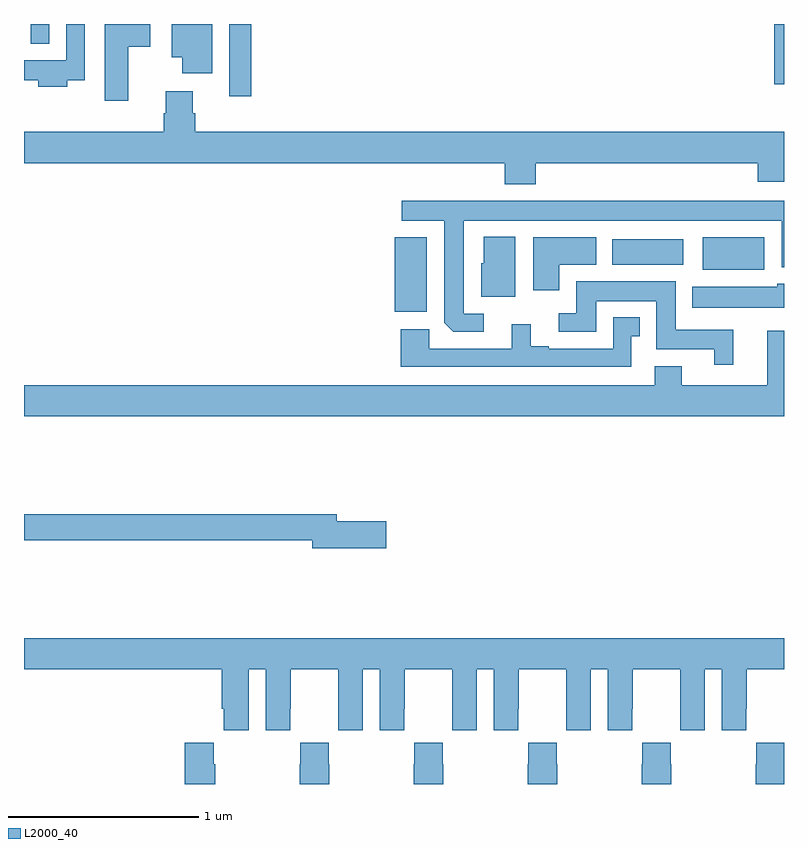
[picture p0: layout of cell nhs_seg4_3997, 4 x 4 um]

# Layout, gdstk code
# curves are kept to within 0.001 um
import gdstk
lib = gdstk.Library(unit=1e-6, precision=1e-09)
def R(c, l, rs):  # rectangles x0, y0, x1, y1
    for r in rs: c.add(gdstk.rectangle(r[:2], r[2:], *l))
def P(c, l, *ps):  # polygons
    for p in ps: c.add(gdstk.Polygon(p, *l))
L2000_40 = (2000, 40)

nhs_seg4_3997 = lib.new_cell('nhs_seg4_3997')
R(nhs_seg4_3997, L2000_40, [(324.95,781.385,325.12,781.777), (326.573,781.607,326.896,781.777), (326.096,781.634,326.47,781.768), (324.081,782.52,324.197,782.9), (326.948,782.583,327,782.9), (323.036,782.795,323.133,782.9)])
P(nhs_seg4_3997, L2000_40, [(323.227,782.604),(323.319,782.604),(323.319,782.9),(323.223,782.9),(323.223,782.71),(323,782.71),(323,782.604),(323.075,782.604),(323.075,782.57),(323.227,782.57)],
  [(323.992,782.9),(323.777,782.9),(323.777,782.726),(323.834,782.726),(323.834,782.64),(323.992,782.64)],
  [(323.548,782.779),(323.665,782.779),(323.665,782.9),(323.426,782.9),(323.426,782.496),(323.548,782.496)],
  [(325.694,782.168),(326.861,782.168),(326.861,782.069),(327,782.069),(327,782.332),(323.9,782.332),(323.9,782.43),(323.887,782.43),(323.887,782.545),(323.747,782.545),(323.747,782.43),(323.735,782.43),(323.735,782.332),(323,782.332),(323,782.168),(325.529,782.168),(325.529,782.057),(325.694,782.057)],
  [(325.42,781.374),(325.315,781.374),(325.315,781.865),(326.988,781.865),(326.988,781.62),(327,781.62),(327,781.969),(324.987,781.969),(324.987,781.865),(325.211,781.865),(325.212,781.327),(325.258,781.281),(325.42,781.281)],
  [(325.585,781.78),(325.421,781.78),(325.421,781.641),(325.406,781.641),(325.406,781.464),(325.585,781.464)],
  [(325.816,781.634),(326.011,781.634),(326.011,781.777),(325.679,781.777),(325.679,781.5),(325.816,781.5)],
  [(326.732,781.291),(326.431,781.291),(326.431,781.546),(325.907,781.546),(325.907,781.377),(325.815,781.377),(325.815,781.281),(326.011,781.281),(326.011,781.442),(326.327,781.442),(326.327,781.187),(326.633,781.187),(326.633,781.107),(326.732,781.107)],
  [(327,781.534),(326.964,781.534),(326.964,781.516),(326.516,781.516),(326.516,781.406),(327,781.406)],
  [(326.196,781.257),(326.242,781.257),(326.242,781.357),(326.1,781.357),(326.1,781.191),(325.762,781.191),(325.762,781.204),(325.666,781.204),(325.666,781.321),(325.568,781.321),(325.568,781.191),(325.134,781.191),(325.134,781.294),(324.983,781.294),(324.983,781.095),(326.196,781.095)],
  [(327,781.285),(326.912,781.285),(326.912,781),(326.461,781),(326.461,781.099),(326.321,781.099),(326.321,781),(323,781),(323,780.836),(327,780.836)],
  [(324.907,780.284),(324.646,780.284),(324.646,780.32),(323,780.32),(323,780.184),(324.518,780.184),(324.518,780.142),(324.907,780.142)],
  [(324.184,779.504),(324.272,779.504),(324.272,779.184),(324.402,779.184),(324.402,779.296),(324.403,779.296),(324.403,779.504),(324.653,779.504),(324.653,779.296),(324.654,779.296),(324.654,779.184),(324.784,779.184),(324.784,779.504),(324.872,779.504),(324.872,779.184),(325.002,779.184),(325.002,779.296),(325.003,779.296),(325.003,779.504),(325.253,779.504),(325.253,779.296),(325.254,779.296),(325.254,779.184),(325.384,779.184),(325.384,779.504),(325.472,779.504),(325.472,779.184),(325.602,779.184),(325.602,779.296),(325.603,779.296),(325.603,779.504),(325.853,779.504),(325.853,779.296),(325.854,779.296),(325.854,779.184),(325.984,779.184),(325.984,779.504),(326.072,779.504),(326.072,779.184),(326.202,779.184),(326.202,779.296),(326.203,779.296),(326.203,779.504),(326.453,779.504),(326.453,779.296),(326.454,779.296),(326.454,779.184),(326.584,779.184),(326.584,779.504),(326.672,779.504),(326.672,779.184),(326.802,779.184),(326.802,779.296),(326.803,779.296),(326.803,779.504),(327,779.504),(327,779.668),(323,779.668),(323,779.504),(324.041,779.504),(324.041,779.296),(324.05,779.296),(324.05,779.184),(324.184,779.184)],
  [(327,779.116),(326.853,779.116),(326.853,779.003),(326.851,779.003),(326.851,778.9),(327,778.9)],
  [(325.806,779.003),(325.803,779.003),(325.803,779.116),(325.653,779.116),(325.653,779.003),(325.651,779.003),(325.651,778.9),(325.806,778.9)],
  [(324.006,779.003),(323.999,779.003),(323.999,779.116),(323.846,779.116),(323.846,778.9),(324.006,778.9)],
  [(324.606,779.003),(324.603,779.003),(324.603,779.116),(324.453,779.116),(324.453,779.003),(324.451,779.003),(324.451,778.9),(324.606,778.9)],
  [(325.206,779.003),(325.203,779.003),(325.203,779.116),(325.053,779.116),(325.053,779.003),(325.051,779.003),(325.051,778.9),(325.206,778.9)],
  [(326.406,779.003),(326.403,779.003),(326.403,779.116),(326.253,779.116),(326.253,779.003),(326.251,779.003),(326.251,778.9),(326.406,778.9)])

lib.write_gds('nhs_seg4_3997.gds')
